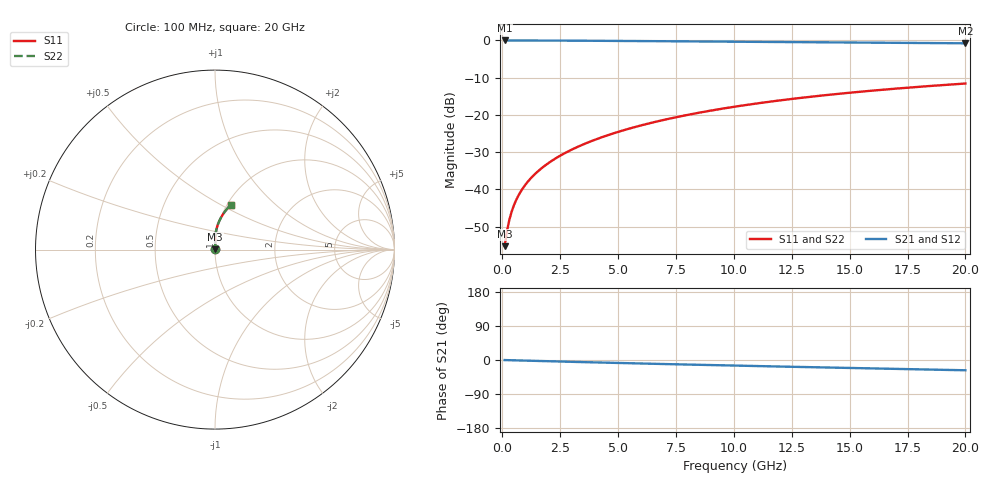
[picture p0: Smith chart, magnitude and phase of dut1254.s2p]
! Touchstone file exported from HFSS 2024.1.0
!  File:  C:/UserFiles/LocalFiles/RDL_TSV_Batchsim/temp_RDL_bottom_1254_1780245493.aedt
!  Generated:  12:40:53 AM Jun  1, 2026
!  Design:  RDL_bottom
!  Project:  temp_RDL_bottom_1254_1780245493
!  Setup:  Setup1
!  Solution:  Sweep
! Variables:
!  dtsv = 10.80580581um
!  hbump = 3um
!  htsv = 86.18um
!  ldown = 360.21um
!  lrdl = 100um
!  p = 40
!  p1 = 57.06um
!  rhole = 1um
!  t = 450um
!  tdown = 4.8um
!  trdl = 3.915915916um
!  wdown = 25.61um
!  wrdl = 20um
# GHz S MA R 50.000000
! Terminal data exported
! Port[1] = RDL1_T1
! Port[2] = RDL1_T2
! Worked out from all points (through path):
!   200 points, 100 MHz to 20 GHz, reference 50 ohm
!   highest |S21| = -0.01 dB at 100 MHz (marker M1); lowest = -0.8 dB at 20 GHz (marker M2)
!   group delay of S21, straight-line fit = 3.71 ps
!   lowest |S11| = -55.3 dB at 100 MHz (marker M3), VSWR 1.00, Z = 50.1 + j0.122 ohm
!   |S11| at or under -10 dB: start of sweep to end of sweep
!   |S22| runs from -55.3 to -11.6 dB; largest |S21 - S12| = 4.3e-15
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0.1  0.001723 45.0  0.9988 -0.2  0.9988 -0.2  0.001723 45.0
! Gamma 0 0 0 0
! Port Impedance 50 0 50 0
0.2  0.002732 62.6  0.9987 -0.3  0.9987 -0.3  0.002732 62.6
0.3  0.003841 70.0  0.9986 -0.5  0.9986 -0.5  0.003841 70.0
0.4  0.004964 73.9  0.9984 -0.7  0.9984 -0.7  0.004964 73.9
0.5  0.00608 76.4  0.9983 -0.8  0.9983 -0.8  0.00608 76.4
0.7  0.008283 79.4  0.9981 -1.2  0.9981 -1.2  0.008283 79.4
0.8  0.009374 80.5  0.998 -1.3  0.998 -1.3  0.009374 80.5
1  0.01155 82.2  0.9977 -1.6  0.9977 -1.6  0.01155 82.2
1.4  0.01592 84.5  0.9971 -2.3  0.9971 -2.3  0.01592 84.5
1.7  0.01923 85.7  0.9965 -2.8  0.9965 -2.8  0.01923 85.7
2  0.02259 86.6  0.9958 -3.2  0.9958 -3.2  0.02259 86.6
2.7  0.03062 88.0  0.9938 -4.4  0.9938 -4.4  0.03062 88.1
3.5  0.04015 88.9  0.9909 -5.6  0.9909 -5.6  0.04015 88.9
4.2  0.0488 89.2  0.9881 -6.7  0.9881 -6.7  0.04881 89.3
5  0.05904 89.3  0.9847 -7.8  0.9847 -7.8  0.05904 89.3
6.8  0.08318 88.3  0.9763 -10.4  0.9763 -10.4  0.08319 88.3
8.4  0.1055 86.7  0.9688 -12.6  0.9688 -12.6  0.1055 86.7
10.1  0.1297 84.6  0.9608 -14.8  0.9608 -14.8  0.1297 84.6
11.7  0.1524 82.4  0.9533 -16.9  0.9533 -16.9  0.1524 82.4
13.4  0.1763 79.9  0.9455 -19.0  0.9455 -19.0  0.1763 79.9
16.7  0.2212 75.2  0.9302 -23.1  0.9302 -23.1  0.2212 75.2
20  0.2636 70.5  0.9147 -27.1  0.9147 -27.1  0.2637 70.5
